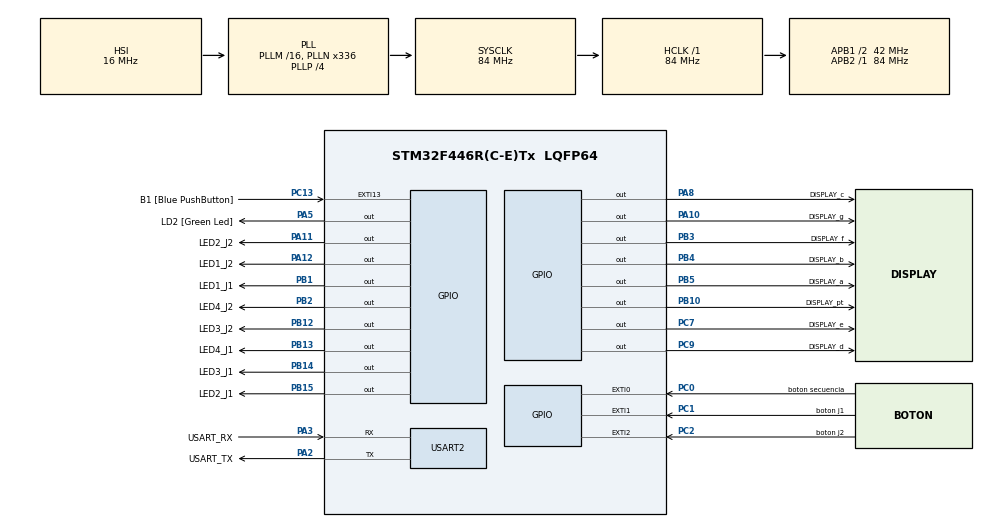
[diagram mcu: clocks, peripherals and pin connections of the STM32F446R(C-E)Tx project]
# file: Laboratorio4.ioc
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Mcu.Family=STM32F4
Mcu.Name=STM32F446R(C-E)Tx
Mcu.Package=LQFP64
NVIC.EXTI0_IRQn=true\:0\:0\:false\:false\:true\:true\:true\:true
NVIC.EXTI1_IRQn=true\:0\:0\:false\:false\:true\:true\:true\:true
NVIC.EXTI2_IRQn=true\:0\:0\:false\:false\:true\:true\:true\:true
NVIC.PriorityGroup=NVIC_PRIORITYGROUP_0
NVIC.TIM6_DAC_IRQn=true\:0\:0\:false\:false\:true\:true\:true\:true
PA10.GPIO_Label=DISPLAY_g
PA10.Signal=GPIO_Output
PA11.GPIO_Label=LED2_J2
PA11.Signal=GPIO_Output
PA12.GPIO_Label=LED1_J2
PA12.Signal=GPIO_Output
PA13.GPIO_Label=TMS
PA13.Mode=Serial_Wire
PA13.Signal=SYS_JTMS-SWDIO
PA14.GPIO_Label=TCK
PA14.Mode=Serial_Wire
PA14.Signal=SYS_JTCK-SWCLK
PA2.GPIO_Label=USART_TX
PA2.Mode=Asynchronous
PA2.Signal=USART2_TX
PA3.GPIO_Label=USART_RX
PA3.Mode=Asynchronous
PA3.Signal=USART2_RX
PA5.GPIO_Label=LD2 [Green Led]
PA5.Signal=GPIO_Output
PA8.GPIO_Label=DISPLAY_c
PA8.Signal=GPIO_Output
PB1.GPIO_Label=LED1_J1
PB1.Signal=GPIO_Output
PB10.GPIO_Label=DISPLAY_pt
PB10.Signal=GPIO_Output
PB12.GPIO_Label=LED3_J2
PB12.Signal=GPIO_Output
PB13.GPIO_Label=LED4_J1
PB13.Signal=GPIO_Output
PB14.GPIO_Label=LED3_J1
PB14.Signal=GPIO_Output
PB15.GPIO_Label=LED2_J1
PB15.Signal=GPIO_Output
PB2.GPIO_Label=LED4_J2
PB2.Signal=GPIO_Output
PB3.GPIO_Label=DISPLAY_f
PB3.Signal=GPIO_Output
PB4.GPIO_Label=DISPLAY_b
PB4.Signal=GPIO_Output
PB5.GPIO_Label=DISPLAY_a
PB5.Signal=GPIO_Output
PC0.GPIO_Label=boton secuencia
PC0.GPIO_ModeDefaultEXTI=GPIO_MODE_IT_FALLING
PC0.GPIO_PuPd=GPIO_PULLUP
PC0.Signal=GPXTI0
PC1.GPIO_Label=boton j1
PC1.GPIO_ModeDefaultEXTI=GPIO_MODE_IT_FALLING
PC1.GPIO_PuPd=GPIO_PULLUP
PC1.Signal=GPXTI1
PC13.GPIO_Label=B1 [Blue PushButton]
PC13.GPIO_ModeDefaultEXTI=GPIO_MODE_IT_FALLING
PC13.Signal=GPXTI13
PC14-OSC32_IN.Mode=LSE-External-Oscillator
PC14-OSC32_IN.Signal=RCC_OSC32_IN
PC15-OSC32_OUT.Mode=LSE-External-Oscillator
PC15-OSC32_OUT.Signal=RCC_OSC32_OUT
PC2.GPIO_Label=boton j2
PC2.GPIO_ModeDefaultEXTI=GPIO_MODE_IT_FALLING
PC2.GPIO_PuPd=GPIO_PULLUP
PC2.Signal=GPXTI2
PC7.GPIO_Label=DISPLAY_e
PC7.Signal=GPIO_Output
PC9.GPIO_Label=DISPLAY_d
PC9.Signal=GPIO_Output
PH0-OSC_IN.Mode=HSE-External-Oscillator
PH0-OSC_IN.Signal=RCC_OSC_IN
PH1-OSC_OUT.Mode=HSE-External-Oscillator
PH1-OSC_OUT.Signal=RCC_OSC_OUT
ProjectManager.HeapSize=0x200
ProjectManager.StackSize=0x400
ProjectManager.TargetToolchain=STM32CubeIDE
RCC.48MHZClocksFreq_Value=84000000
RCC.AHBFreq_Value=84000000
RCC.APB1CLKDivider=RCC_HCLK_DIV2
RCC.APB1Freq_Value=42000000
RCC.APB1TimFreq_Value=84000000
RCC.APB2Freq_Value=84000000
RCC.APB2TimFreq_Value=84000000
RCC.CortexFreq_Value=84000000
RCC.FLatency-AdvancedSettings=FLASH_LATENCY_2
RCC.HCLKFreq_Value=84000000
RCC.HSE_VALUE=8000000
RCC.HSI_VALUE=16000000
RCC.PLLN=336
RCC.PLLP=RCC_PLLP_DIV4
RCC.SYSCLKFreq_VALUE=84000000
RCC.SYSCLKSource=RCC_SYSCLKSOURCE_PLLCLK
RCC.USBFreq_Value=168000000
RCC.VCOOutputFreq_Value=336000000
TIM6.AutoReloadPreload=TIM_AUTORELOAD_PRELOAD_ENABLE
TIM6.Period=10-1
TIM6.Prescaler=8400 - 1
TIM6.TIM_MasterOutputTrigger=TIM_TRGO_UPDATE
USART2.VirtualMode=VM_ASYNC
VP_TIM6_VS_ClockSourceINT.Mode=Enable_Timer
board=NUCLEO-F446RE

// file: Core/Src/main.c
/* USER CODE BEGIN Header */
/**
  ******************************************************************************
  * @file           : main.c
  * @brief          : Main program body
  ******************************************************************************
  * @attention
  *
  * Copyright (c) 2026 STMicroelectronics.
  * All rights reserved.
  *
  * This software is licensed under terms that can be found in the LICENSE file
  * in the root directory of this software component.
  * If no LICENSE file comes with this software, it is provided AS-IS.
  *
  ******************************************************************************
  */
/* USER CODE END Header */
#include "main.h"

/* USER CODE BEGIN Includes */
#include"stdint.h"
/* USER CODE END Includes */

TIM_HandleTypeDef htim6;

UART_HandleTypeDef huart2;

/* USER CODE BEGIN PV */
uint8_t contador1;
uint8_t contador2;
uint8_t inicio;
uint8_t conteo;
uint8_t bloqueo = 1;
uint16_t contador_ms;
const uint8_t tabla7[6] = {0x3F, 0x06, 0x5B, 0x4F, 0x66, 0x6D
};

/* USER CODE END PV */

void SystemClock_Config(void);
static void MX_GPIO_Init(void);
static void MX_USART2_UART_Init(void);
static void MX_TIM6_Init(void);
/* USER CODE BEGIN PFP */
void jugador1(uint8_t j1);
void jugador2(uint8_t j2);
void segmentos7(uint8_t numeros);
/* USER CODE END PFP */

int main(void)
{

  /* MCU Configuration--------------------------------------------------------*/

  /* Reset of all peripherals, Initializes the Flash interface and the Systick. */
  HAL_Init();

  /* Configure the system clock */
  SystemClock_Config();

  /* Initialize all configured peripherals */
  MX_GPIO_Init();
  MX_USART2_UART_Init();
  MX_TIM6_Init();
  /* USER CODE BEGIN 2 */
  HAL_TIM_Base_Start_IT(&htim6);
  /* USER CODE END 2 */

  /* Infinite loop */
  while (1)
  {

    /* USER CODE BEGIN 3 */

	  if (inicio == 1)
	  	  {
	  		  segmentos7(conteo);
	  	  }
	  	  else
	  	  {
	  		  jugador1(contador1);
	  		  jugador2(contador2);
	  	  }
  }
  /* USER CODE END 3 */
}

void SystemClock_Config(void)
{
  RCC_OscInitTypeDef RCC_OscInitStruct = {0};
  RCC_ClkInitTypeDef RCC_ClkInitStruct = {0};

  /** Configure the main internal regulator output voltage
  */
  __HAL_RCC_PWR_CLK_ENABLE();
  __HAL_PWR_VOLTAGESCALING_CONFIG(PWR_REGULATOR_VOLTAGE_SCALE3);

  /** Initializes the RCC Oscillators according to the specified parameters
  * in the RCC_OscInitTypeDef structure.
  */
  RCC_OscInitStruct.OscillatorType = RCC_OSCILLATORTYPE_HSI;
  RCC_OscInitStruct.HSIState = RCC_HSI_ON;
  RCC_OscInitStruct.HSICalibrationValue = RCC_HSICALIBRATION_DEFAULT;
  RCC_OscInitStruct.PLL.PLLState = RCC_PLL_ON;
  RCC_OscInitStruct.PLL.PLLSource = RCC_PLLSOURCE_HSI;
  RCC_OscInitStruct.PLL.PLLM = 16;
  RCC_OscInitStruct.PLL.PLLN = 336;
  RCC_OscInitStruct.PLL.PLLP = RCC_PLLP_DIV4;
  RCC_OscInitStruct.PLL.PLLQ = 2;
  RCC_OscInitStruct.PLL.PLLR = 2;
  if (HAL_RCC_OscConfig(&RCC_OscInitStruct) != HAL_OK)
  {
    Error_Handler();
  }

  /** Initializes the CPU, AHB and APB buses clocks
  */
  RCC_ClkInitStruct.ClockType = RCC_CLOCKTYPE_HCLK|RCC_CLOCKTYPE_SYSCLK
                              |RCC_CLOCKTYPE_PCLK1|RCC_CLOCKTYPE_PCLK2;
  RCC_ClkInitStruct.SYSCLKSource = RCC_SYSCLKSOURCE_PLLCLK;
  RCC_ClkInitStruct.AHBCLKDivider = RCC_SYSCLK_DIV1;
  RCC_ClkInitStruct.APB1CLKDivider = RCC_HCLK_DIV2;
  RCC_ClkInitStruct.APB2CLKDivider = RCC_HCLK_DIV1;

  if (HAL_RCC_ClockConfig(&RCC_ClkInitStruct, FLASH_LATENCY_2) != HAL_OK)
  {
    Error_Handler();
  }
}

static void MX_TIM6_Init(void)
{

  TIM_MasterConfigTypeDef sMasterConfig = {0};

  htim6.Instance = TIM6;
  htim6.Init.Prescaler = 8400 - 1;
  htim6.Init.CounterMode = TIM_COUNTERMODE_UP;
  htim6.Init.Period = 10-1;
  htim6.Init.AutoReloadPreload = TIM_AUTORELOAD_PRELOAD_ENABLE;
  if (HAL_TIM_Base_Init(&htim6) != HAL_OK)
  {
    Error_Handler();
  }
  sMasterConfig.MasterOutputTrigger = TIM_TRGO_UPDATE;
  sMasterConfig.MasterSlaveMode = TIM_MASTERSLAVEMODE_DISABLE;
  if (HAL_TIMEx_MasterConfigSynchronization(&htim6, &sMasterConfig) != HAL_OK)
  {
    Error_Handler();
  }

}

static void MX_USART2_UART_Init(void)
{

  huart2.Instance = USART2;
  huart2.Init.BaudRate = 115200;
  huart2.Init.WordLength = UART_WORDLENGTH_8B;
  huart2.Init.StopBits = UART_STOPBITS_1;
  huart2.Init.Parity = UART_PARITY_NONE;
  huart2.Init.Mode = UART_MODE_TX_RX;
  huart2.Init.HwFlowCtl = UART_HWCONTROL_NONE;
  huart2.Init.OverSampling = UART_OVERSAMPLING_16;
  if (HAL_UART_Init(&huart2) != HAL_OK)
  {
    Error_Handler();
  }

}

static void MX_GPIO_Init(void)
{
  GPIO_InitTypeDef GPIO_InitStruct = {0};+

  /* GPIO Ports Clock Enable */
  __HAL_RCC_GPIOC_CLK_ENABLE();
  __HAL_RCC_GPIOH_CLK_ENABLE();
  __HAL_RCC_GPIOA_CLK_ENABLE();
  __HAL_RCC_GPIOB_CLK_ENABLE();

  /*Configure GPIO pin Output Level */
  HAL_GPIO_WritePin(GPIOA, LD2_Pin|DISPLAY_c_Pin|DISPLAY_g_Pin|LED2_J2_Pin
                          |LED1_J2_Pin, GPIO_PIN_RESET);

  /*Configure GPIO pin Output Level */
  HAL_GPIO_WritePin(GPIOB, LED1_J1_Pin|LED4_J2_Pin|DISPLAY_pt_Pin|LED3_J2_Pin
                          |LED4_J1_Pin|LED3_J1_Pin|LED2_J1_Pin|DISPLAY_f_Pin
                          |DISPLAY_b_Pin|DISPLAY_a_Pin, GPIO_PIN_RESET);

  /*Configure GPIO pin Output Level */
  HAL_GPIO_WritePin(GPIOC, DISPLAY_e_Pin|DISPLAY_d_Pin, GPIO_PIN_RESET);

  /*Configure GPIO pin : B1_Pin */
  GPIO_InitStruct.Pin = B1_Pin;
  GPIO_InitStruct.Mode = GPIO_MODE_IT_FALLING;
  GPIO_InitStruct.Pull = GPIO_NOPULL;
  HAL_GPIO_Init(B1_GPIO_Port, &GPIO_InitStruct);

  /*Configure GPIO pins : boton_secuencia_Pin boton_j1_Pin boton_j2_Pin */
  GPIO_InitStruct.Pin = boton_secuencia_Pin|boton_j1_Pin|boton_j2_Pin;
  GPIO_InitStruct.Mode = GPIO_MODE_IT_FALLING;
  GPIO_InitStruct.Pull = GPIO_PULLUP;
  HAL_GPIO_Init(GPIOC, &GPIO_InitStruct);

  /*Configure GPIO pins : LD2_Pin DISPLAY_c_Pin DISPLAY_g_Pin LED2_J2_Pin
                           LED1_J2_Pin */
  GPIO_InitStruct.Pin = LD2_Pin|DISPLAY_c_Pin|DISPLAY_g_Pin|LED2_J2_Pin
                          |LED1_J2_Pin;
  GPIO_InitStruct.Mode = GPIO_MODE_OUTPUT_PP;
  GPIO_InitStruct.Pull = GPIO_NOPULL;
  GPIO_InitStruct.Speed = GPIO_SPEED_FREQ_LOW;
  HAL_GPIO_Init(GPIOA, &GPIO_InitStruct);

  /*Configure GPIO pins : LED1_J1_Pin LED4_J2_Pin DISPLAY_pt_Pin LED3_J2_Pin
                           LED4_J1_Pin LED3_J1_Pin LED2_J1_Pin DISPLAY_f_Pin
                           DISPLAY_b_Pin DISPLAY_a_Pin */
  GPIO_InitStruct.Pin = LED1_J1_Pin|LED4_J2_Pin|DISPLAY_pt_Pin|LED3_J2_Pin
                          |LED4_J1_Pin|LED3_J1_Pin|LED2_J1_Pin|DISPLAY_f_Pin
                          |DISPLAY_b_Pin|DISPLAY_a_Pin;
  GPIO_InitStruct.Mode = GPIO_MODE_OUTPUT_PP;
  GPIO_InitStruct.Pull = GPIO_NOPULL;
  GPIO_InitStruct.Speed = GPIO_SPEED_FREQ_LOW;
  HAL_GPIO_Init(GPIOB, &GPIO_InitStruct);

  /*Configure GPIO pins : DISPLAY_e_Pin DISPLAY_d_Pin */
  GPIO_InitStruct.Pin = DISPLAY_e_Pin|DISPLAY_d_Pin;
  GPIO_InitStruct.Mode = GPIO_MODE_OUTPUT_PP;
  GPIO_InitStruct.Pull = GPIO_NOPULL;
  GPIO_InitStruct.Speed = GPIO_SPEED_FREQ_LOW;
  HAL_GPIO_Init(GPIOC, &GPIO_InitStruct);

  /* EXTI interrupt init*/
  HAL_NVIC_SetPriority(EXTI0_IRQn, 0, 0);
  HAL_NVIC_EnableIRQ(EXTI0_IRQn);

  HAL_NVIC_SetPriority(EXTI1_IRQn, 0, 0);
  HAL_NVIC_EnableIRQ(EXTI1_IRQn);

  HAL_NVIC_SetPriority(EXTI2_IRQn, 0, 0);
  HAL_NVIC_EnableIRQ(EXTI2_IRQn);

}

/* USER CODE BEGIN 4 */
void segmentos7(uint8_t numeros)
{
	uint8_t valor = tabla7[numeros];

	HAL_GPIO_WritePin(DISPLAY_a_GPIO_Port, DISPLAY_a_Pin, (valor & 0x01) ? GPIO_PIN_SET : GPIO_PIN_RESET);
	HAL_GPIO_WritePin(DISPLAY_b_GPIO_Port, DISPLAY_b_Pin, (valor & 0x02) ? GPIO_PIN_SET : GPIO_PIN_RESET);
	HAL_GPIO_WritePin(DISPLAY_c_GPIO_Port, DISPLAY_c_Pin, (valor & 0x04) ? GPIO_PIN_SET : GPIO_PIN_RESET);
	HAL_GPIO_WritePin(DISPLAY_d_GPIO_Port, DISPLAY_d_Pin, (valor & 0x08) ? GPIO_PIN_SET : GPIO_PIN_RESET);
	HAL_GPIO_WritePin(DISPLAY_e_GPIO_Port, DISPLAY_e_Pin, (valor & 0x10) ? GPIO_PIN_SET : GPIO_PIN_RESET);
	HAL_GPIO_WritePin(DISPLAY_f_GPIO_Port, DISPLAY_f_Pin, (valor & 0x20) ? GPIO_PIN_SET : GPIO_PIN_RESET);
	HAL_GPIO_WritePin(DISPLAY_g_GPIO_Port, DISPLAY_g_Pin, (valor & 0x40) ? GPIO_PIN_SET : GPIO_PIN_RESET);

}

void jugador1(uint8_t j1){
	switch(j1)
	{
	case 1:
		HAL_GPIO_WritePin(GPIOB, LED1_J1_Pin, GPIO_PIN_SET);
		break;
	case 2:
		HAL_GPIO_WritePin(GPIOB, LED2_J1_Pin, GPIO_PIN_SET);
		break;
	case 3:
		HAL_GPIO_WritePin(GPIOB, LED3_J1_Pin, GPIO_PIN_SET);
		break;
	case 4:
		HAL_GPIO_WritePin(GPIOB, LED4_J1_Pin, GPIO_PIN_SET);
		break;
	}
	if (contador1 == 4)
	{
		HAL_GPIO_WritePin(GPIOA, LED1_J2_Pin, GPIO_PIN_RESET);
		HAL_GPIO_WritePin(GPIOA, LED2_J2_Pin, GPIO_PIN_RESET);
		HAL_GPIO_WritePin(GPIOB, LED3_J2_Pin, GPIO_PIN_RESET);
		HAL_GPIO_WritePin(GPIOB, LED4_J2_Pin, GPIO_PIN_RESET);
	}
}

void jugador2(uint8_t j2){
	switch(j2)
	{
	case 1:
		HAL_GPIO_WritePin(GPIOA, LED1_J2_Pin, GPIO_PIN_SET);
		break;
	case 2:
		HAL_GPIO_WritePin(GPIOA, LED2_J2_Pin, GPIO_PIN_SET);
		break;
	case 3:
		HAL_GPIO_WritePin(GPIOB, LED3_J2_Pin, GPIO_PIN_SET);
		break;
	case 4:
		HAL_GPIO_WritePin(GPIOB, LED4_J2_Pin, GPIO_PIN_SET);
		break;
	}
	if(contador2 == 4)
	{
		HAL_GPIO_WritePin(GPIOB, LED1_J1_Pin, GPIO_PIN_RESET);
		HAL_GPIO_WritePin(GPIOB, LED2_J1_Pin, GPIO_PIN_RESET);
		HAL_GPIO_WritePin(GPIOB, LED3_J1_Pin, GPIO_PIN_RESET);
		HAL_GPIO_WritePin(GPIOB, LED4_J1_Pin, GPIO_PIN_RESET);
	}
}

void HAL_GPIO_EXTI_Callback(uint16_t GPIO_Pin){
	if (GPIO_Pin == boton_secuencia_Pin)
	{
		inicio = 1;
		conteo = 5;
		contador1 = 0;
		contador2 = 0;
		contador_ms = 0;
		HAL_GPIO_WritePin(GPIOB, LED1_J1_Pin, GPIO_PIN_RESET);
		HAL_GPIO_WritePin(GPIOB, LED2_J1_Pin, GPIO_PIN_RESET);
		HAL_GPIO_WritePin(GPIOB, LED3_J1_Pin, GPIO_PIN_RESET);
		HAL_GPIO_WritePin(GPIOB, LED4_J1_Pin, GPIO_PIN_RESET);
		HAL_GPIO_WritePin(GPIOA, LED1_J2_Pin, GPIO_PIN_RESET);
		HAL_GPIO_WritePin(GPIOA, LED2_J2_Pin, GPIO_PIN_RESET);
		HAL_GPIO_WritePin(GPIOB, LED3_J2_Pin, GPIO_PIN_RESET);
		HAL_GPIO_WritePin(GPIOB, LED4_J2_Pin, GPIO_PIN_RESET);
	}

	else if(GPIO_Pin == boton_j1_Pin){
		if(inicio == 0 && bloqueo == 0)
		{
			if(contador1 < 4)
			{
				contador1++;
			}
			else if(contador1 == 4)
			{
				bloqueo = 1;
				HAL_GPIO_WritePin(GPIOB, LED1_J1_Pin, GPIO_PIN_SET);
				HAL_GPIO_WritePin(GPIOB, LED2_J1_Pin, GPIO_PIN_SET);
				HAL_GPIO_WritePin(GPIOB, LED3_J1_Pin, GPIO_PIN_SET);
				HAL_GPIO_WritePin(GPIOB, LED4_J1_Pin, GPIO_PIN_SET);
				segmentos7(1);
			}
		}
	}

	else if(GPIO_Pin == boton_j2_Pin){
		if(inicio == 0 && bloqueo == 0)
		{
			if(contador2 < 4)
			{
				contador2++;
			}
			else if(contador2 == 4)
			{
				bloqueo = 1;
				HAL_GPIO_WritePin(GPIOA, LED1_J2_Pin, GPIO_PIN_SET);
				HAL_GPIO_WritePin(GPIOA, LED2_J2_Pin, GPIO_PIN_SET);
				HAL_GPIO_WritePin(GPIOB, LED3_J2_Pin, GPIO_PIN_SET);
				HAL_GPIO_WritePin(GPIOB, LED4_J2_Pin, GPIO_PIN_SET);
				segmentos7(2);
			}
		}
	}
}

void HAL_TIM_PeriodElapsedCallback(TIM_HandleTypeDef *htim)
{
	if (htim == &htim6)
	{
		if (inicio == 1)
		{
			contador_ms++;
			if (contador_ms >= 1000)
			{
				contador_ms = 0;
				if (conteo > 0)
				{
					conteo--;
				}
				else
				{
					inicio = 0;
					bloqueo = 0;
				}
			}
		}
	}
}
/* USER CODE END 4 */

void Error_Handler(void)
{
  __disable_irq();
  while (1)
  {
  }
}
